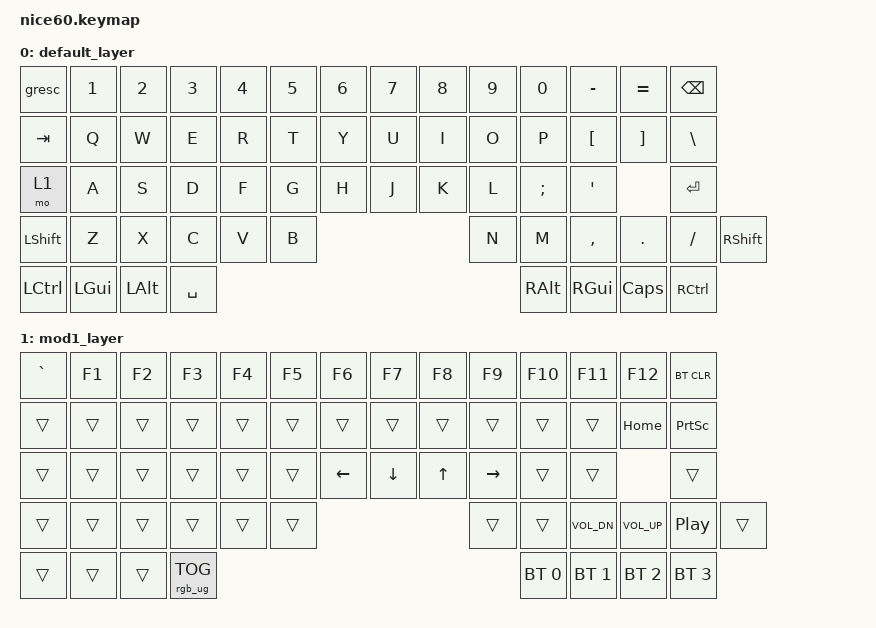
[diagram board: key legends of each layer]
/*
 * Copyright (c) 2021 Nick Winans
 *
 * SPDX-License-Identifier: MIT
 */

#include <behaviors.dtsi>
#include <dt-bindings/zmk/keys.h>
#include <dt-bindings/zmk/rgb.h>
#include <dt-bindings/zmk/bt.h>
#include <dt-bindings/zmk/outputs.h>
#include <dt-bindings/zmk/reset.h>
#include <dt-bindings/zmk/ext_power.h>

/ {
	keymap {
		compatible = "zmk,keymap";
		
		default_layer {
// ------------------------------------------------------------------------------------------
// | ESC |  1  |  2  |  3  |  4  |  5  |  6  |  7  |  8  |  9  |  0  |  -  |  =  |   BKSP   |
// | TAB  |  Q  |  W  |  E  |  R  |  T  |  Y  |  U  |  I  |  O  |  P  |  [  |  ]  |   "|"   |
// | MOD1  |  A  |  S  |  D  |  F  |  G  |  H  |  J  |  K  |  L  |  ;  |  '  |     ENTER    |
// |  SHIFT  |  Z  |  X  |  C  |  V  |  B  |  N  |  M  |  ,  |  .  |  /  |      SHIFT       |
// |  CTL  |  WIN  |  ALT  |            SPACE              |  ALT  |  WIN  |  CAPS |  CTL  |
// ------------------------------------------------------------------------------------------

		// caps = mod1 layer
		// fn = caps lock (why not i guess)
			bindings = <
	&gresc  &kp N1 &kp N2 &kp N3 &kp N4 &kp N5 &kp N6 &kp N7 &kp N8 &kp N9 &kp N0 &kp MINUS &kp EQUAL  &kp BSPC
	&kp TAB  &kp Q  &kp W  &kp E  &kp R  &kp T  &kp Y  &kp U  &kp I  &kp O  &kp P  &kp LBKT  &kp RBKT  &kp BSLH
	&mo 1  &kp A  &kp S  &kp D  &kp F  &kp G  &kp H  &kp J  &kp K  &kp L  &kp SEMI &kp SQT           &kp RET
	&kp LSHFT   &kp Z  &kp X  &kp C  &kp V  &kp B  &kp N  &kp M  &kp COMMA &kp DOT &kp FSLH           &kp RSHFT
	&kp LCTRL &kp LGUI &kp LALT             &kp SPACE                     &kp RALT  &kp RGUI  &kp CLCK   &kp RCTRL
			>;
		};

		// hjkl = left down up right
		// esc = grave/tilde
		// number row = funcs
		// space = toggle rgb
		// bkspc = delete bluetooth connection
		// ralt to rctrl = bt profile 0-3
		// , = vol dn
		// . = vol up
		// / = play/pause
		// \ = print screen
		// ] = home
		mod1_layer {
			bindings = <
	&kp GRAVE  &kp F1   &kp F2    &kp F3    &kp F4  &kp F5  &kp F6    &kp F7   &kp F8    &kp F9     &kp F10  &kp F11  &kp F12       &bt BT_CLR
	&trans     &trans   &trans    &trans    &trans  &trans  &trans    &trans   &trans    &trans     &trans   &trans   &kp HOME       &kp PSCRN
	&trans     &trans   &trans    &trans    &trans  &trans  &kp LEFT  &kp DOWN &kp UP    &kp RIGHT  &trans   &trans               &trans
	&trans     &trans   &trans    &trans    &trans  &trans  &trans             &trans    &kp C_VOL_DN     &kp C_VOL_UP   &kp C_PP               &trans
	&trans     &trans   &trans                           &rgb_ug RGB_TOG                    &bt BT_SEL 0 &bt BT_SEL 1  &bt BT_SEL 2 &bt BT_SEL 3
			>;
		};
	};
};
